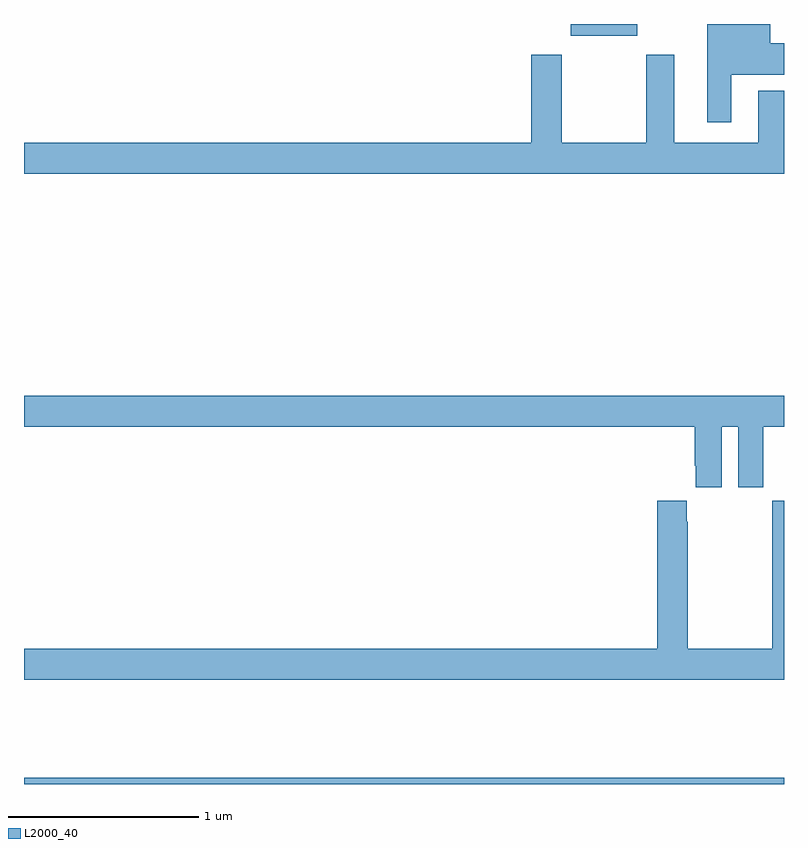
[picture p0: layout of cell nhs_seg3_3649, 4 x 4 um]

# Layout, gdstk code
import gdstk
lib = gdstk.Library(unit=1e-6, precision=1e-09)
def R(c, l, rs):  # rectangles x0, y0, x1, y1
    for r in rs: c.add(gdstk.rectangle(r[:2], r[2:], *l))
def P(c, l, *ps):  # polygons
    for p in ps: c.add(gdstk.Polygon(p, *l))
L2000_40 = (2000, 40)

nhs_seg3_3649 = lib.new_cell('nhs_seg3_3649')
R(nhs_seg3_3649, L2000_40, [(301,668.4,305,668.432), (303.878,672.338,304.228,672.4)])
P(nhs_seg3_3649, L2000_40, [(304.723,672.134),(305,672.134),(305,672.298),(304.927,672.298),(304.927,672.4),(304.595,672.4),(304.595,671.883),(304.723,671.883)],
  [(305,672.049),(304.865,672.049),(304.865,671.776),(304.423,671.776),(304.423,672.238),(304.276,672.238),(304.276,671.776),(303.831,671.776),(303.831,672.238),(303.671,672.238),(303.671,671.776),(301,671.776),(301,671.612),(305,671.612)],
  [(304.672,670.28),(304.76,670.28),(304.76,669.963),(304.891,669.963),(304.891,670.28),(305,670.28),(305,670.444),(301,670.444),(301,670.28),(304.529,670.28),(304.529,670.075),(304.535,670.075),(304.535,669.963),(304.672,669.963)],
  [(305,669.892),(304.939,669.892),(304.939,669.112),(304.494,669.112),(304.494,669.779),(304.489,669.779),(304.489,669.892),(304.334,669.892),(304.334,669.112),(301,669.112),(301,668.948),(305,668.948)])

lib.write_gds('nhs_seg3_3649.gds')
